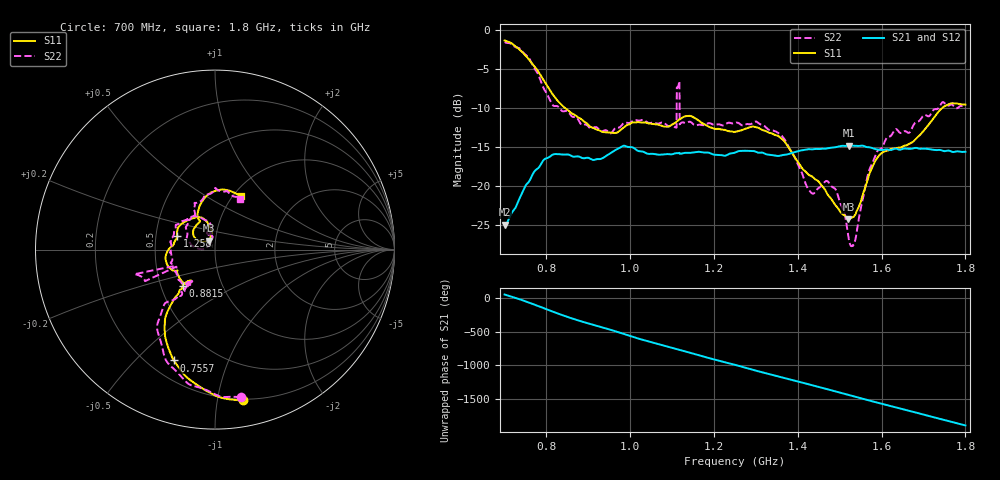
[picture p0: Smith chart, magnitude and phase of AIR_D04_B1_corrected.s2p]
! Created with skrf 1.9.0 (http://scikit-rf.org).
# Hz S RI R 50.0
!freq ReS11 ImS11 ReS21 ImS21 ReS12 ImS12 ReS22 ImS22
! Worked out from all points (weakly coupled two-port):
!   1601 points, 700 MHz to 1.8 GHz, reference 50 ohm
!   highest |S21| = -14.86 dB at 1.523 GHz (marker M1); lowest = -25.0 dB at 700.7 MHz (marker M2)
!   lowest |S11| = -24.3 dB at 1.521 GHz (marker M3), VSWR 1.13, Z = 46.4 + j4.62 ohm
!   |S11| at or under -10 dB: 843.6 MHz to 1.745 GHz (901.8 MHz wide, 69.7 % of centre)
!   |S22| runs from -27.8 to -1.6 dB; largest |S21 - S12| = 0.0034
!   S11 on the Smith chart (normalised r, x): 700 MHz: 0.19, -1.19; 755.7 MHz: 0.30, -0.65; 881.5 MHz: 0.65, -0.28; 1.258 GHz: 0.65, +0.10; 1.8 GHz: 1.09, +0.73
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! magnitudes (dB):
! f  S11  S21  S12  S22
! 700 MHz  -1.4  -25.0  -24.8  -1.6
! 700.7 MHz  -1.4  -25.0  -24.7  -1.6
! 755.7 MHz  -3.6  -19.7  -19.5  -3.4
! 814.1 MHz  -8.2  -16.0  -16.1  -9.6
! 881.5 MHz  -11.4  -16.4  -16.3  -12.1
! 883.6 MHz  -11.5  -16.4  -16.3  -12.2
! 1.067 GHz  -12.2  -16.0  -16.0  -12.0
! 1.105 GHz  -12.0  -15.9  -15.8  -12.4
! 1.117 GHz  -11.5  -15.8  -15.8  -6.8
! 1.123 GHz  -11.3  -15.9  -15.8  -11.9
! 1.25 GHz  -13.1  -15.8  -15.7  -11.9
! 1.258 GHz  -13.0  -15.6  -15.6  -11.9
! 1.36 GHz  -13.9  -16.1  -16.1  -13.5
! 1.434 GHz  -18.8  -15.3  -15.3  -21.0
! 1.488 GHz  -22.4  -15.1  -15.0  -20.3
! 1.521 GHz  -24.3  -14.9  -14.9  -26.7
! 1.523 GHz  -24.3  -14.9  -14.9  -27.2
! 1.536 GHz  -23.8  -14.9  -14.9  -27.2
! 1.572 GHz  -18.3  -15.1  -15.1  -17.7
! 1.617 GHz  -15.4  -15.4  -15.3  -13.7
! 1.746 GHz  -10.0  -15.5  -15.4  -9.3
! 1.8 GHz  -9.6  -15.6  -15.6  -10.1
